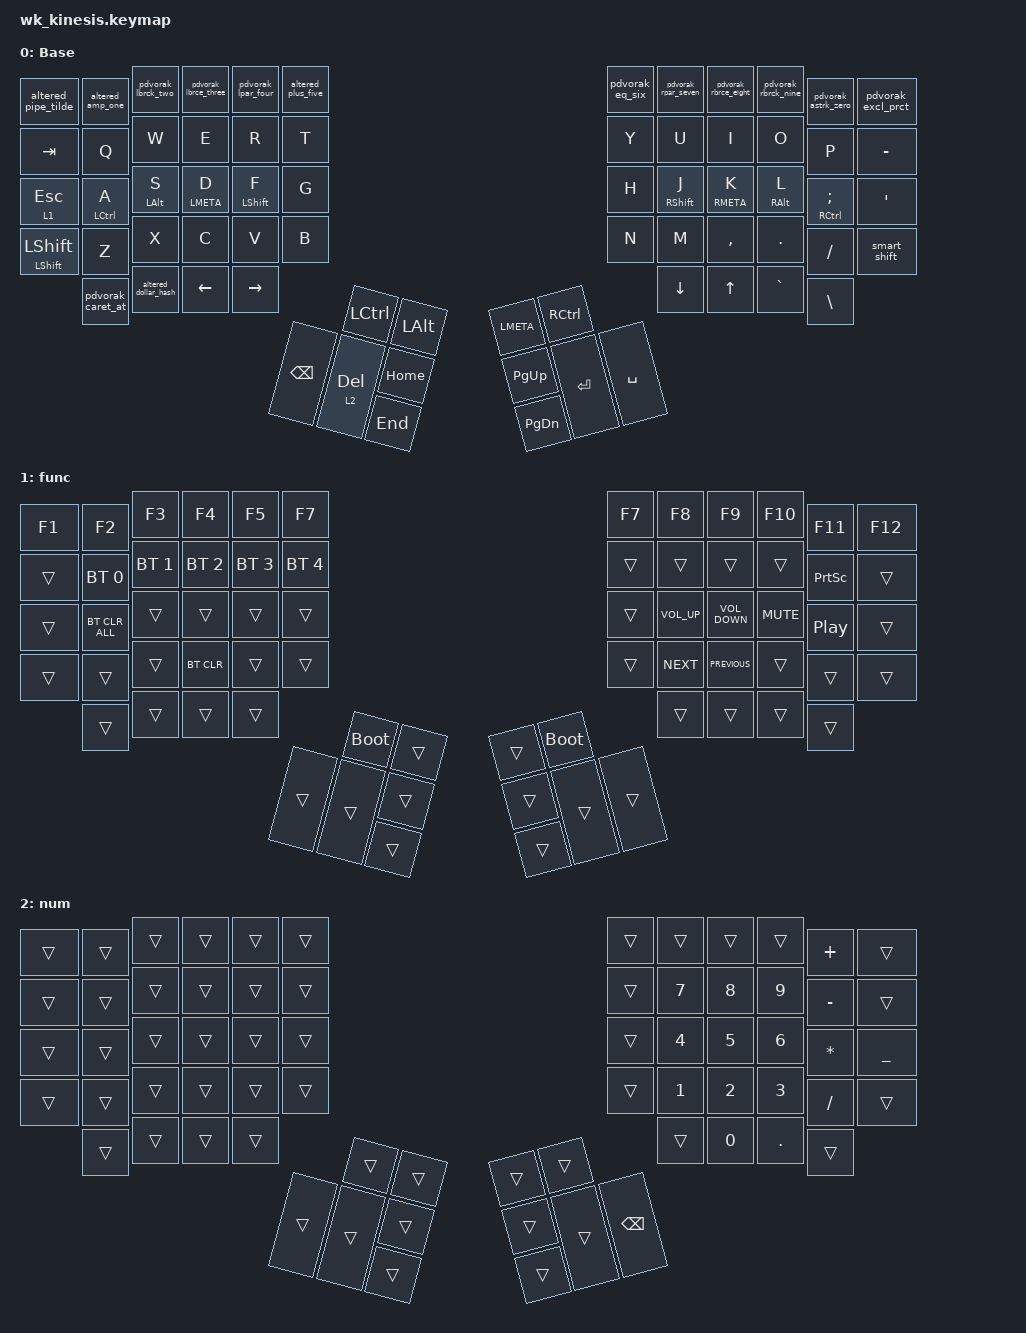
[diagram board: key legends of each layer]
#include <dt-bindings/zmk/mouse.h>
#include <behaviors.dtsi>
#include <dt-bindings/zmk/bt.h>
#include <dt-bindings/zmk/keys.h>

&sk {
    release-after-ms = <900>;
    quick-release;
};

/ {
    behaviors {
        smart_shift: smart_shift {
            compatible = "zmk,behavior-mod-morph";
            label = "SMART_SHIFT";
            bindings = <&magic_shift LEFT_SHIFT LEFT_SHIFT>, <&caps_word>;

            #binding-cells = <0>;
            mods = <(MOD_RSFT|MOD_LSFT)>;
        };

        hrm_l: hrm_l {
            compatible = "zmk,behavior-hold-tap";
            label = "HRM_L";
            bindings = <&kp>, <&kp>;

            #binding-cells = <2>;
            tapping-term-ms = <250>;
            quick-tap-ms = <175>;
            require-prior-idle-ms = <150>;
            flavor = "balanced";
            hold-trigger-on-release;
            hold-trigger-key-positions = <6 7 8 9 10 11 18 19 20 21 22 23 34 35 36 37 38 39 48 49 50 51 52 66 67 38 39 48 49 50 51 52 53 66 67 64 65>;
        };

        hrm_r: hrm_r {
            compatible = "zmk,behavior-hold-tap";
            label = "HRM_R";
            bindings = <&kp>, <&kp>;

            #binding-cells = <2>;
            tapping-term-ms = <250>;
            quick-tap-ms = <175>;
            require-prior-idle-ms = <150>;
            flavor = "balanced";
            hold-trigger-on-release;
            hold-trigger-key-positions = <0 1 2 3 4 5 13 14 15 16 17 25 26 27 28 29 41 42 43 44 45 0 1 2 3 4 5 13 14 15 16 17 25 26 27 28 29 41 42 43 44 45 12 55 56 57 54>;
        };

        smart_caps: smart_caps {
            compatible = "zmk,behavior-tap-dance";
            label = "SMART_CAPS";
            #binding-cells = <0>;
            bindings = <&caps_word>, <&kp CAPSLOCK>;

            tapping-term-ms = <175>;
        };

        magic_shift: magic_shift {
            compatible = "zmk,behavior-hold-tap";
            label = "MAGIC_SHIFT";
            bindings = <&kp>, <&sk>;

            #binding-cells = <2>;
            tapping-term-ms = <200>;
            flavor = "balanced";
            quick-tap-ms = <175>;
        };

        moprh_lpara_lt: moprh_lpara_lt {
            compatible = "zmk,behavior-mod-morph";
            label = "MOPRH_LPARA_LT";
            bindings = <&kp LEFT_PARENTHESIS>, <&kp LESS_THAN>;

            #binding-cells = <0>;
            mods = <(MOD_LSFT|MOD_RSFT)>;
        };

        morph_rpara_gt: morph_rpara_gt {
            compatible = "zmk,behavior-mod-morph";
            label = "MORPH_RPARA_GT";
            bindings = <&kp RIGHT_PARENTHESIS>, <&kp GREATER_THAN>;

            #binding-cells = <0>;
            mods = <(MOD_LSFT|MOD_RSFT)>;
        };

        bs_del: bs_del {
            compatible = "zmk,behavior-mod-morph";
            label = "BS_DEL";
            bindings = <&kp BACKSPACE>, <&kp DEL>;

            #binding-cells = <0>;
            mods = <(MOD_LSFT|MOD_RSFT)>;
        };

        pdvorak_plus_one: pdvorak_plus_one {
            compatible = "zmk,behavior-mod-morph";
            label = "PDVORAK_PLUS_ONE";
            bindings = <&kp PLUS>, <&kp N1>;

            #binding-cells = <0>;
            mods = <(MOD_RSFT|MOD_LSFT)>;
        };

        pdvorak_lbrck_two: pdvorak_lbrck_two {
            compatible = "zmk,behavior-mod-morph";
            label = "PDVORAK_LBRCK_TWO";
            bindings = <&kp LBKT>, <&kp N2>;

            #binding-cells = <0>;
            mods = <(MOD_RSFT|MOD_LSFT|MOD_LALT|MOD_RALT)>;
        };

        pdvorak_lbrce_three: pdvorak_lbrce_three {
            compatible = "zmk,behavior-mod-morph";
            label = "PDVORAK_LBRCE_THREE";
            bindings = <&kp LEFT_BRACE>, <&kp N3>;

            #binding-cells = <0>;
            mods = <(MOD_RSFT|MOD_LSFT|MOD_LALT|MOD_RALT)>;
        };

        pdvorak_lpar_four: pdvorak_lpar_four {
            compatible = "zmk,behavior-mod-morph";
            label = "PDVORAK_LPAR_FOUR";
            bindings = <&kp LEFT_PARENTHESIS>, <&kp N4>;

            #binding-cells = <0>;
            mods = <(MOD_RSFT|MOD_LSFT|MOD_LALT|MOD_RALT)>;
        };

        pdvorak_amp_five: pdvorak_amp_five {
            compatible = "zmk,behavior-mod-morph";
            label = "PDVORAK_AMP_FIVE";
            bindings = <&kp AMPERSAND>, <&kp N5>;

            #binding-cells = <0>;
            mods = <(MOD_RSFT|MOD_LSFT)>;
        };

        pdvorak_eq_six: pdvorak_eq_six {
            compatible = "zmk,behavior-mod-morph";
            label = "PDVORAK_EQ_SIX";
            bindings = <&kp EQUAL>, <&kp N6>;

            #binding-cells = <0>;
            mods = <(MOD_RSFT|MOD_LSFT|MOD_LALT|MOD_RALT)>;
        };

        pdvorak_rpar_seven: pdvorak_rpar_seven {
            compatible = "zmk,behavior-mod-morph";
            label = "PDVORAK_RPAR_SEVEN";
            bindings = <&kp RIGHT_PARENTHESIS>, <&kp N7>;

            #binding-cells = <0>;
            mods = <(MOD_RSFT|MOD_LSFT|MOD_LALT|MOD_RALT)>;
        };

        pdvorak_rbrce_eight: pdvorak_rbrce_eight {
            compatible = "zmk,behavior-mod-morph";
            label = "PDVORAK_RBRCE_EIGHT";
            bindings = <&kp RIGHT_BRACE>, <&kp N8>;

            #binding-cells = <0>;
            mods = <(MOD_RSFT|MOD_LSFT|MOD_LALT|MOD_RALT)>;
        };

        pdvorak_rbrck_nine: pdvorak_rbrck_nine {
            compatible = "zmk,behavior-mod-morph";
            label = "PDVORAK_RBRCK_NINE";
            bindings = <&kp RBKT>, <&kp N9>;

            #binding-cells = <0>;
            mods = <(MOD_RSFT|MOD_LSFT|MOD_LALT|MOD_RALT)>;
        };

        pdvorak_astrk_zero: pdvorak_astrk_zero {
            compatible = "zmk,behavior-mod-morph";
            label = "PDVORAK_ASTRK_ZERO";
            bindings = <&kp ASTRK>, <&kp N0>;

            #binding-cells = <0>;
            mods = <(MOD_RSFT|MOD_LSFT|MOD_LALT|MOD_RALT)>;
        };

        pdvorak_excl_prct: pdvorak_excl_prct {
            compatible = "zmk,behavior-mod-morph";
            label = "PDVORAK_EXCL_PRCT";
            bindings = <&kp EXCLAMATION>, <&kp PERCENT>;

            #binding-cells = <0>;
            mods = <(MOD_RSFT|MOD_LSFT|MOD_LALT|MOD_RALT)>;
        };

        pdvorak_bslash_hash: pdvorak_bslash_hash {
            compatible = "zmk,behavior-mod-morph";
            label = "PDVORAK_BSLASH_HASH";
            bindings = <&kp BACKSLASH>, <&kp POUND>;

            #binding-cells = <0>;
            mods = <(MOD_RSFT|MOD_LSFT)>;
        };

        pdvorak_pipe_grve: pdvorak_pipe_grve {
            compatible = "zmk,behavior-mod-morph";
            label = "PDVORAK_PIPE_GRVE";
            bindings = <&kp PIPE>, <&kp GRAVE>;

            #binding-cells = <0>;
            mods = <(MOD_RSFT|MOD_LSFT)>;
        };

        pdvorak_at_caret: pdvorak_at_caret {
            compatible = "zmk,behavior-mod-morph";
            label = "PDVORAK_AT_CARET";
            bindings = <&kp AT_SIGN>, <&kp CARET>;

            #binding-cells = <0>;
            mods = <(MOD_RSFT|MOD_LSFT)>;
        };

        pdvorak_dollar_tilde: pdvorak_dollar_tilde {
            compatible = "zmk,behavior-mod-morph";
            label = "PDVORAK_DOLLAR_TILDE";
            bindings = <&kp DOLLAR>, <&kp TILDE>;

            #binding-cells = <0>;
            mods = <(MOD_RSFT|MOD_LSFT)>;
        };

        lthumb_hold_tap: lthumb_hold_tap {
            compatible = "zmk,behavior-hold-tap";
            label = "LTHUMB_HOLD_TAP";
            bindings = <&mo>, <&kp>;

            #binding-cells = <2>;
            hold-trigger-key-positions = <6 7 18 19 34 35 48 49 64 6 7 8 9 10 11 18 19 20 21 22 23 34 35 36 37 38 39 48 49 50 51 38 39 48 49 50 51 52 53 64 65 66 67>;
            tapping-term-ms = <200>;
            quick-tap-ms = <175>;
            flavor = "balanced";
            require-prior-idle-ms = <125>;
            hold-trigger-on-release;
        };

        esc_mo: esc_mo {
            compatible = "zmk,behavior-hold-tap";
            label = "ESC_MO";
            bindings = <&mo>, <&kp>;

            #binding-cells = <2>;
            tapping-term-ms = <250>;
            quick-tap-ms = <150>;
            require-prior-idle-ms = <150>;
            flavor = "balanced";
        };

        pdvorak_caret_at: pdvorak_caret_at {
            compatible = "zmk,behavior-mod-morph";
            label = "PDVORAK_CARET_AT";
            bindings = <&kp CARET>, <&kp AT>;

            #binding-cells = <0>;
            mods = <(MOD_RSFT|MOD_LSFT)>;
        };

        altered_amp_one: altered_amp_one {
            compatible = "zmk,behavior-mod-morph";
            label = "ALTERED_AMP_ONE";
            bindings = <&kp AMPERSAND>, <&kp N1>;

            #binding-cells = <0>;
            mods = <(MOD_RSFT|MOD_LSFT|MOD_LALT|MOD_RALT)>;
        };

        altered_plus_five: altered_plus_five {
            compatible = "zmk,behavior-mod-morph";
            label = "ALTERED_PLUS_FIVE";
            bindings = <&kp PLUS>, <&kp N5>;

            #binding-cells = <0>;
            mods = <(MOD_RSFT|MOD_LSFT|MOD_LALT|MOD_RALT)>;
        };

        altered_pipe_hash: altered_pipe_hash {
            compatible = "zmk,behavior-mod-morph";
            label = "ALTERED_PIPE_HASH";
            bindings = <&kp PIPE>, <&kp HASH>;

            #binding-cells = <0>;
            mods = <(MOD_RSFT|MOD_LSFT)>;
        };

        altered_dollar_hash: altered_dollar_hash {
            compatible = "zmk,behavior-mod-morph";
            label = "ALTERED_DOLLAR_HASH";
            bindings = <&kp DOLLAR>, <&kp HASH>;

            #binding-cells = <0>;
            mods = <(MOD_RSFT|MOD_LSFT)>;
        };

        altered_pipe_tilde: altered_pipe_tilde {
            compatible = "zmk,behavior-mod-morph";
            label = "ALTERED_PIPE_TILDE";
            bindings = <&kp PIPE>, <&kp TILDE>;

            #binding-cells = <0>;
            mods = <(MOD_RSFT|MOD_LSFT|MOD_LALT|MOD_RALT)>;
        };
    };

    combos {
        compatible = "zmk,combos";

        combo_lt {
            bindings = <&kp LESS_THAN>;
            key-positions = <2 4>;
            require-prior-idle-ms = <150>;
            layers = <0>;
            timeout-ms = <45>;
        };

        combo_gt {
            bindings = <&kp GREATER_THAN>;
            key-positions = <7 9>;
            require-prior-idle-ms = <150>;
            layers = <0>;
            timeout-ms = <45>;
        };
    };

    keymap {
        compatible = "zmk,keymap";

        qwerty {
            display-name = "Base";
            bindings = <
&altered_pipe_tilde        &altered_amp_one   &pdvorak_lbrck_two    &pdvorak_lbrce_three  &pdvorak_lpar_four  &altered_plus_five                                                                                            &pdvorak_eq_six  &pdvorak_rpar_seven  &pdvorak_rbrce_eight  &pdvorak_rbrck_nine  &pdvorak_astrk_zero     &pdvorak_excl_prct
&kp TAB                    &kp Q              &kp W                 &kp E                 &kp R               &kp T                                                                                                         &kp Y            &kp U                &kp I                 &kp O                &kp P                   &kp MINUS
&esc_mo 1 ESCAPE           &hrm_l LCTRL A     &hrm_l LALT S         &hrm_l LMETA D        &hrm_l LSHIFT F     &kp G                              &kp LCTRL               &kp LALT      &kp LMETA      &kp RCTRL             &kp H            &hrm_r RSHIFT J      &hrm_r RMETA K        &hrm_r RALT L        &hrm_r RCTRL SEMICOLON  &kp SQT
&magic_shift LSHFT LSHIFT  &kp Z              &kp X                 &kp C                 &kp V               &kp B                                                      &kp HOME      &kp PAGE_UP                          &kp N            &kp M                &kp COMMA             &kp DOT              &kp SLASH               &smart_shift
                           &pdvorak_caret_at  &altered_dollar_hash  &kp LEFT              &kp RIGHT                               &kp BACKSPACE  &lthumb_hold_tap 2 DEL  &kp END       &kp PAGE_DOWN  &kp ENTER  &kp SPACE                   &kp DOWN             &kp UP                &kp GRAVE            &kp BACKSLASH
            >;
        };

        func {
            bindings = <
&kp F1  &kp F2          &kp F3        &kp F4        &kp F5        &kp F7                                                                      &kp F7  &kp F8           &kp F9             &kp F10     &kp F11           &kp F12
&trans  &bt BT_SEL 0    &bt BT_SEL 1  &bt BT_SEL 2  &bt BT_SEL 3  &bt BT_SEL 4                                                                &trans  &trans           &trans             &trans      &kp PRINTSCREEN   &trans
&trans  &bt BT_CLR_ALL  &trans        &trans        &trans        &trans                &bootloader  &trans      &trans  &bootloader          &trans  &kp C_VOLUME_UP  &kp C_VOLUME_DOWN  &kp C_MUTE  &kp C_PLAY_PAUSE  &trans
&trans  &trans          &trans        &bt BT_CLR    &trans        &trans                             &trans      &trans                       &trans  &kp C_NEXT       &kp C_PREVIOUS     &trans      &trans            &trans
        &trans          &trans        &trans        &trans                      &trans  &trans       &trans      &trans  &trans       &trans          &trans           &trans             &trans      &trans
            >;
        };

        num {
            bindings = <
&trans  &trans  &trans  &trans  &trans  &trans                                                             &trans  &trans  &trans  &trans      &kp PLUS      &trans
&trans  &trans  &trans  &trans  &trans  &trans                                                             &trans  &kp N7  &kp N8  &kp N9      &kp MINUS     &trans
&trans  &trans  &trans  &trans  &trans  &trans          &trans  &trans      &trans  &trans                 &trans  &kp N4  &kp N5  &kp N6      &kp ASTERISK  &kp UNDERSCORE
&trans  &trans  &trans  &trans  &trans  &trans                  &trans      &trans                         &trans  &kp N1  &kp N2  &kp N3      &kp SLASH     &trans
        &trans  &trans  &trans  &trans          &trans  &trans  &trans      &trans  &trans  &kp BACKSPACE          &trans  &kp N0  &kp PERIOD  &trans
            >;
        };
    };
};
